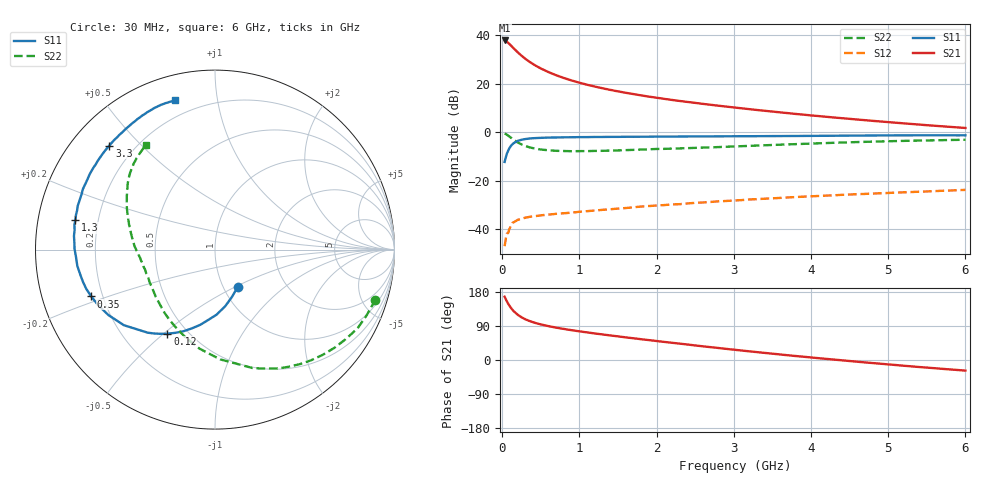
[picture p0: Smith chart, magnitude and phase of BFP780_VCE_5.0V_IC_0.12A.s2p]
! Infineon Technologies  Discrete & RF Semiconductors
! BFP780
! VCE =  5.0 V,  IC = 0.12 A
! Common Emitter S-Parameters:  Jul 2015
# GHz  S  MA  R  50
!  f  S11  S21  S12  S22
! GHz  MAG  ANG  MAG  ANG  MAG  ANG  MAG  ANG
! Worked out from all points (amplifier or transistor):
!   75 points, 30 MHz to 6 GHz, reference 50 ohm
!   highest |S21| = 37.9 dB at 30 MHz (marker M1)
!   |S21| within 3 dB of that: start of sweep to 139.5 MHz
!   unconditionally stable (mu >= 1): 1.551 GHz to end of sweep
!   at 150 MHz: K = 0.20, MSG = 35.9 dB, |S12| = -37.2 dB
!   at 2.3 GHz: K = 1.15, MAG = 18.9 dB, |S12| = -29.8 dB
!   at 6 GHz: K = 1.19, MAG = 10.2 dB, |S12| = -23.9 dB
!   S11 on the Smith chart (normalised r, x): 30 MHz: 1.17, -0.51; 120 MHz: 0.39, -0.51; 350 MHz: 0.16, -0.18; 1.3 GHz: 0.12, +0.10; 3.3 GHz: 0.11, +0.41; 6 GHz: 0.12, +0.76
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0.03  0.2423 -58.2  78.52 167.0  0.0044 76.2  0.9365 -17.3
0.05  0.3202 -79.7  75.41 158.4  0.0071 73.1  0.9074 -28.9
0.07  0.3932 -95.4  71.37 150.9  0.0081 57.1  0.8611 -39.5
0.08  0.4271 -101.1  69.16 147.3  0.0085 55.6  0.8397 -44.2
0.09  0.4596 -106.7  66.77 144.0  0.01 55.4  0.8164 -49.1
0.12  0.5384 -119.5  59.83 135.4  0.0121 51.1  0.7508 -61.8
0.15  0.5956 -129.0  53.52 128.4  0.0138 46.6  0.6917 -72.5
0.2  0.6595 -140.3  44.66 119.4  0.0154 38.5  0.6122 -87.3
0.25  0.6968 -148.4  37.97 112.6  0.0162 36.0  0.5581 -99.0
0.3  0.7206 -154.5  32.69 107.3  0.0171 33.1  0.5158 -108.6
0.35  0.7375 -159.3  28.63 103.1  0.0177 31.7  0.4862 -116.5
0.45  0.7567 -166.0  22.82 96.5  0.0186 29.7  0.4506 -128.6
0.6  0.7725 -173.3  17.38 89.3  0.0198 29.4  0.4221 -141.4
0.8  0.7825 179.8  13.12 81.9  0.0211 29.3  0.4076 -152.8
1.1  0.7897 172.2  9.534 72.8  0.0233 31.1  0.4053 -164.1
1.3  0.7953 168.0  8.058 67.4  0.0248 32.0  0.4111 -169.3
2.1  0.8097 153.9  4.871 47.7  0.0311 33.1  0.4514 176.5
3.1  0.8239 138.3  3.11 25.0  0.0394 31.9  0.5133 160.5
3.3  0.826 135.4  2.872 20.8  0.0412 31.5  0.5282 157.5
4.1  0.839 124.5  2.147 4.8  0.048 27.9  0.5878 146.5
5.1  0.8584 113.2  1.565 -13.3  0.0564 22.4  0.654 134.4
6  0.8609 105.1  1.22 -28.0  0.0641 16.2  0.6971 123.6
